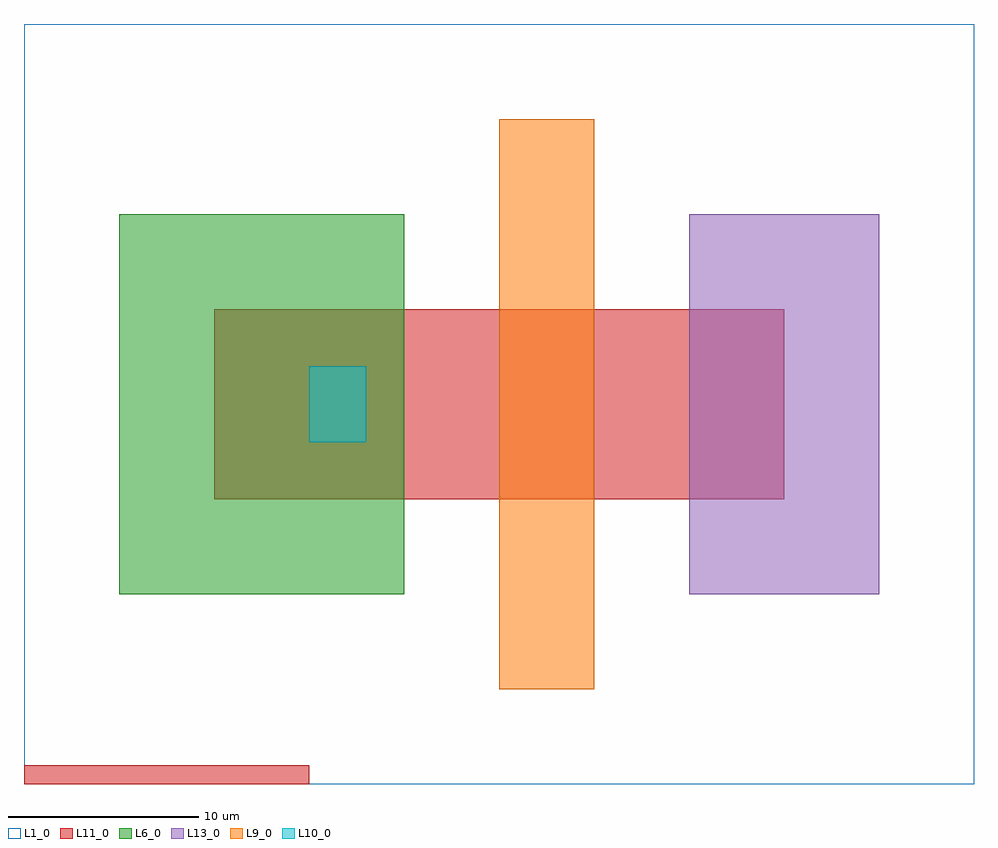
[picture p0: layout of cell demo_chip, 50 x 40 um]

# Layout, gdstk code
import gdstk
lib = gdstk.Library(unit=1e-6, precision=1e-09)
def R(c, l, rs):  # rectangles x0, y0, x1, y1
    for r in rs: c.add(gdstk.rectangle(r[:2], r[2:], *l))
L1_0 = (1, 0)
L6_0 = (6, 0)
L9_0 = (9, 0)
L10_0 = (10, 0)
L11_0 = (11, 0)
L13_0 = (13, 0)

rect1 = lib.new_cell('rect1')
R(rect1, L1_0, [(0,0,50,40)])

rect2 = lib.new_cell('rect2')
R(rect2, L6_0, [(0,0,15,20)])

rect3 = lib.new_cell('rect3')
R(rect3, L9_0, [(0,0,5,30)])

rect4 = lib.new_cell('rect4')
R(rect4, L11_0, [(0,0,30,10)])

rect5 = lib.new_cell('rect5')
R(rect5, L13_0, [(0,0,10,20)])

rect6 = lib.new_cell('rect6')
R(rect6, L10_0, [(0,0,3,4)])

rect7 = lib.new_cell('rect7')
R(rect7, L11_0, [(0,0,15,1)])

c_gg = lib.new_cell('gg')
c_gg.add(gdstk.Reference(rect7, (0,0)))

demo_chip = lib.new_cell('demo_chip')
demo_chip.add(gdstk.Reference(rect1, (0,0)))
demo_chip.add(gdstk.Reference(rect2, (5,10)))
demo_chip.add(gdstk.Reference(rect3, (25,5)))
demo_chip.add(gdstk.Reference(rect4, (10,15)))
demo_chip.add(gdstk.Reference(rect5, (35,10)))
demo_chip.add(gdstk.Reference(rect6, (15,18)))
demo_chip.add(gdstk.Reference(c_gg, (0,0)))

lib.write_gds('demo_chip.gds')
